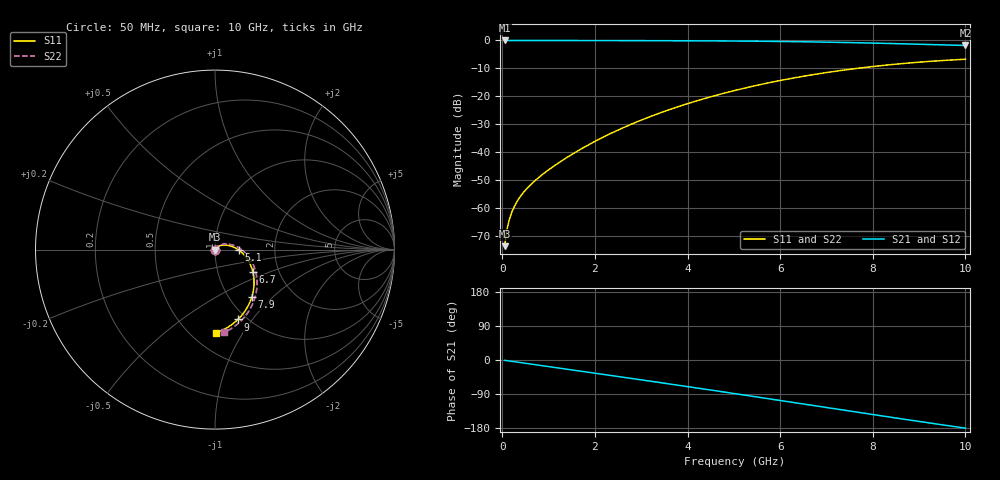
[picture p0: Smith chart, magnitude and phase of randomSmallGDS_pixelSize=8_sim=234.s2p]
! freq	dB(S11)	phase(S11)	dB(S12)	phase(S12)
!  dB(S21)	phase(S21)	dB(S22)	phase(S22)
!S-par simulation data
#  GHz  S  DB  R 50
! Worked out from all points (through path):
!   200 points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, 50 MHz to 10 GHz, reference 50 ohm
!   highest |S21| = 0.00 dB at 50 MHz (marker M1); lowest = -1.8 dB at 10 GHz (marker M2)
!   group delay of S21, straight-line fit = 50.3 ps
!   lowest |S11| = -73.5 dB at 50 MHz (marker M3), VSWR 1.00, Z = 50 + j0.0207 ohm
!   |S11| at or under -10 dB: start of sweep to 7.647 GHz
!   |S22| runs from -73.4 to -6.7 dB; largest |S21 - S12| = 0
!   S11 on the Smith chart (normalised r, x): 50 MHz: 1.00, +0.00; 5.1 GHz: 1.31, -0.01; 6.7 GHz: 1.47, -0.39; 7.9 GHz: 1.26, -0.75; 9 GHz: 0.91, -0.85; 10 GHz: 0.66, -0.77
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0.05  -73.47 77.7  -0.00 -0.9  -0.00 -0.9  -73.44 78.1
0.1  -67.57 81.8  -0.00 -1.8  -0.00 -1.8  -67.54 82.5
0.15  -64.07 82.4  -0.00 -2.6  -0.00 -2.6  -64.05 83.4
0.2  -61.58 82.0  -0.00 -3.5  -0.00 -3.5  -61.55 83.4
0.3  -58.04 80.7  -0.00 -5.3  -0.00 -5.3  -58.02 82.7
0.45  -54.43 78.4  -0.01 -7.9  -0.01 -7.9  -54.41 81.3
0.65  -50.93 75.4  -0.01 -11.3  -0.01 -11.3  -50.91 79.5
0.95  -46.82 71.1  -0.02 -16.5  -0.02 -16.5  -46.78 76.5
1.35  -42.27 65.0  -0.03 -23.5  -0.03 -23.5  -42.21 71.5
1.75  -38.30 58.4  -0.04 -30.4  -0.04 -30.4  -38.23 65.3
2.55  -31.62 44.5  -0.05 -44.4  -0.05 -44.4  -31.55 51.3
3.4  -25.92 29.3  -0.08 -59.4  -0.08 -59.4  -25.87 35.6
4.25  -21.31 14.1  -0.13 -74.7  -0.13 -74.7  -21.27 19.9
5.05  -17.75 -0.3  -0.21 -89.3  -0.21 -89.3  -17.70 5.1
5.1  -17.54 -1.2  -0.21 -90.2  -0.21 -90.2  -17.50 4.2
5.9  -14.63 -15.8  -0.34 -104.9  -0.34 -104.9  -14.58 -10.7
6.7  -12.23 -30.5  -0.52 -119.8  -0.52 -119.8  -12.19 -25.5
7.3  -10.75 -41.4  -0.69 -131.0  -0.69 -131.0  -10.71 -36.5
7.9  -9.50 -52.3  -0.90 -142.1  -0.90 -142.1  -9.46 -47.4
8.35  -8.71 -60.4  -1.07 -150.4  -1.07 -150.4  -8.66 -55.5
9  -7.75 -71.8  -1.35 -162.1  -1.35 -162.1  -7.71 -66.8
10  -6.71 -89.0  -1.79 -179.9  -1.79 -179.9  -6.66 -83.7
